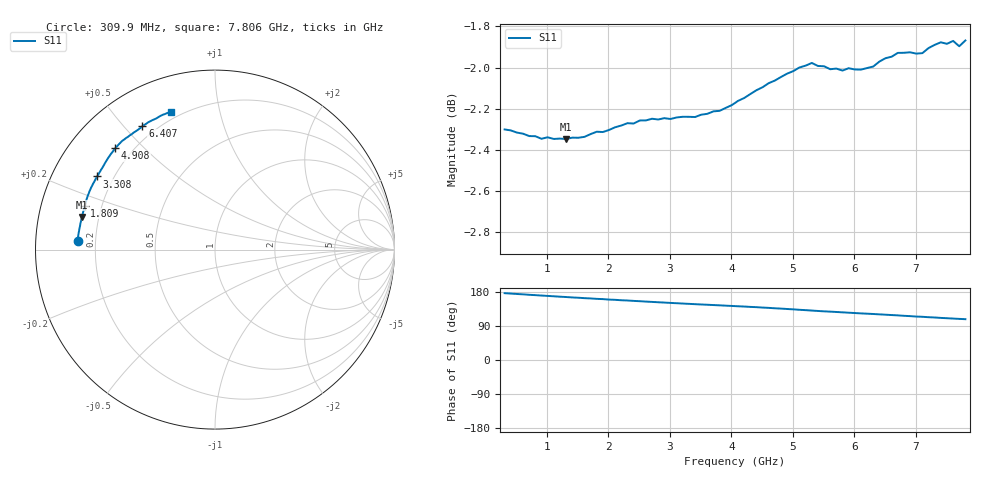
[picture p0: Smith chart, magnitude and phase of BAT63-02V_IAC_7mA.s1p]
! Infineon Technologies  Discrete & RF Semiconductors
! BAT63-02V
! IAC = 7 mA
! One-Port S-Parameters
# Hz  S  MA  R  50
!f  S11
!Hz  Mag  Ang
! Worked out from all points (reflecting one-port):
!   76 points, 309.9 MHz to 7.806 GHz, reference 50 ohm
!   lowest |S11| = -2.3 dB at 1.309 GHz (marker M1), VSWR 7.45, Z = 6.81 + j5.94 ohm
!   phase of S11 starts at 176 deg and turns -69 deg over the sweep
!   S11 on the Smith chart (normalised r, x): 309.9 MHz: 0.13, +0.03; 1.809 GHz: 0.14, +0.16; 3.308 GHz: 0.14, +0.28; 4.908 GHz: 0.14, +0.41; 6.407 GHz: 0.15, +0.56; 7.806 GHz: 0.16, +0.72
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3.0985e8  0.7673 176.3
7.0965e8  0.7645 172.1
1.30935e9  0.7632 166.2
1.8091e9  0.7663 161.4
1.90905e9  0.7662 160.7
2.009e9  0.7671 159.4
2.10895e9  0.7683 158.8
2.2089e9  0.769 157.7
2.30885e9  0.77 157.0
2.50875e9  0.7712 155.2
2.8086e9  0.7716 152.4
3.2084e9  0.7728 149.0
3.30835e9  0.7728 148.1
4.10795e9  0.7797 141.8
4.4078e9  0.7843 139.4
4.90755e9  0.7917 134.6
5.0075e9  0.7928 133.6
5.4073e9  0.7951 129.4
6.007e9  0.7935 123.9
6.4068e9  0.797 120.5
6.70665e9  0.8009 117.8
6.90655e9  0.8012 115.8
7.0065e9  0.8006 114.6
7.10645e9  0.8008 114.0
7.2064e9  0.8031 112.9
7.30635e9  0.8045 112.2
7.4063e9  0.8057 111.1
7.8061e9  0.8065 107.7
